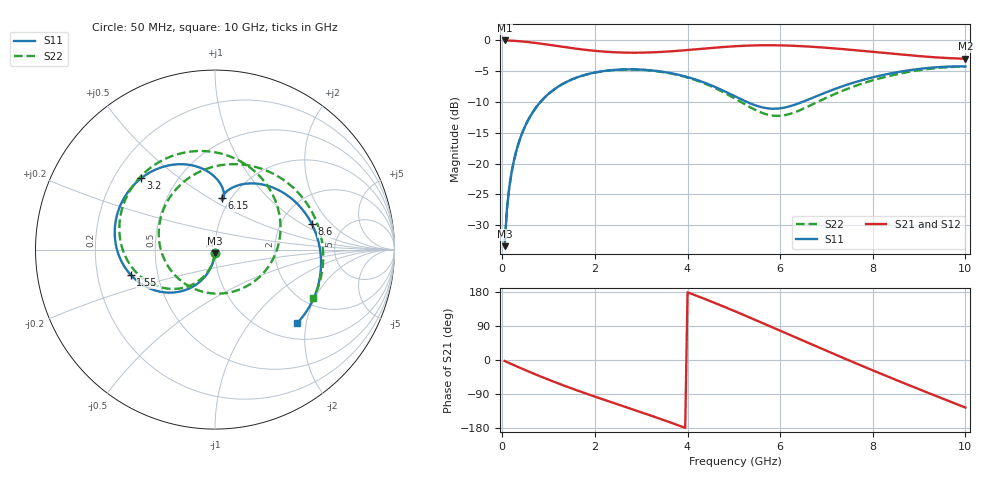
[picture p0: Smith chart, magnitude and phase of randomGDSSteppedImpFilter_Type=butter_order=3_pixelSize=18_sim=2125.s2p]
! freq	dB(S11)	phase(S11)	dB(S12)	phase(S12)
!  dB(S21)	phase(S21)	dB(S22)	phase(S22)
!S-par simulation data
#  GHz  S  DB  R 50
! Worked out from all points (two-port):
!   200 points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, 50 MHz to 10 GHz, reference 50 ohm
!   highest |S21| = -0.01 dB at 50 MHz (marker M1); lowest = -3.0 dB at 10 GHz (marker M2)
!   |S21| within 3 dB of the highest: start of sweep to end of sweep
!   lowest |S11| = -33.4 dB at 50 MHz (marker M3), VSWR 1.04, Z = 49.9 - j2.13 ohm
!   |S11| at or under -10 dB: start of sweep to 823.6 MHz; 5.286 GHz to 6.475 GHz (1.19 GHz wide, 20.2 % of centre)
!   |S22| runs from -33.4 to -4.3 dB; largest |S21 - S12| = 0
!   S11 on the Smith chart (normalised r, x): 50 MHz: 1.00, -0.04; 1.55 GHz: 0.35, -0.13; 3.2 GHz: 0.31, +0.37; 6.15 GHz: 0.91, +0.57; 8.6 GHz: 2.97, +1.22; 10 GHz: 1.36, -1.78
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0.05  -33.39 -92.6  -0.01 -2.8  -0.01 -2.8  -33.39 -92.9
0.1  -27.39 -95.4  -0.02 -5.5  -0.02 -5.5  -27.39 -95.9
0.2  -21.43 -100.7  -0.05 -10.9  -0.05 -10.9  -21.44 -101.8
0.45  -14.65 -113.5  -0.19 -24.2  -0.19 -24.2  -14.66 -116.0
1  -8.67 -139.7  -0.70 -51.9  -0.70 -51.9  -8.67 -145.3
1.55  -6.19 -163.4  -1.30 -77.3  -1.30 -77.3  -6.20 -172.4
1.75  -5.67 -171.4  -1.49 -86.0  -1.49 -86.0  -5.68 178.1
2.45  -4.77 162.4  -1.93 -115.3  -1.93 -115.3  -4.79 145.9
3.2  -4.85 136.1  -1.95 -146.3  -1.95 -146.3  -4.88 110.5
3.4  -5.02 129.2  -1.89 -154.8  -1.89 -154.8  -5.06 100.5
3.85  -5.66 114.3  -1.66 -174.6  -1.66 -174.6  -5.73 76.4
4.3  -6.68 100.3  -1.37 164.6  -1.37 164.6  -6.79 49.4
5.05  -9.17 83.3  -0.94 127.3  -0.94 127.3  -9.55 -6.3
5.6  -10.84 80.6  -0.79 98.5  -0.79 98.5  -11.73 -61.0
6.15  -10.81 82.4  -0.83 69.1  -0.83 69.1  -12.05 -124.7
6.7  -9.32 77.0  -1.04 39.9  -1.04 39.9  -10.38 179.5
7.1  -8.11 67.6  -1.26 18.9  -1.26 18.9  -8.96 146.3
7.5  -7.06 55.3  -1.51 -1.8  -1.51 -1.8  -7.72 117.2
8.35  -5.41 24.4  -2.10 -45.0  -2.10 -45.0  -5.78 63.3
8.6  -5.06 14.6  -2.28 -57.5  -2.28 -57.5  -5.37 48.8
9.3  -4.40 -13.2  -2.72 -91.8  -2.72 -91.8  -4.55 10.2
10  -4.23 -41.6  -2.97 -125.5  -2.97 -125.5  -4.26 -26.4
